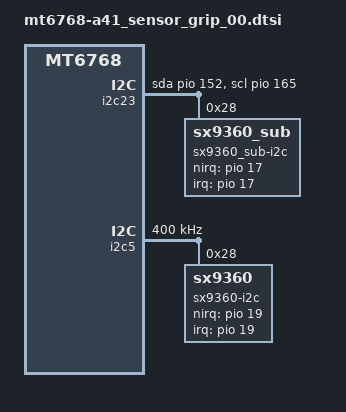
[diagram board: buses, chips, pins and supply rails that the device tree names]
/*
 * SAMSUNG board device tree source
 *
 * Copyright (c) 2019 Samsung Electronics Co., Ltd.
 *		http://www.samsung.com
 *
 * This program is free software; you can redistribute it and/or modify
 * it under the terms of the GNU General Public License version 2 as
 * published by the Free Software Foundation.
 */

/* MAIN GRIP */
&i2c5 {
	status = "okay";
	clock-frequency = <400000>;
	#address-cells = <1>;
	#size-cells = <0>;
	pinctrl-names = "default";
	pinctrl-0 = <&grip_ldo_en>;

	sx9360-i2c@28 {
		compatible = "sx9360";
		reg = <0x28>;
		status = "okay";
		pinctrl-names = "default";
		pinctrl-0 = <&grip_int>;
		interrupt-parent = <&pio>;
		interrupts = <19 0>;
		sx9360,nirq-gpio = <&pio 19 0>;

		#sx9360,vdd_en = <&pio 43 0>;
		sx9360,reggnrlctrl2_reg = <0x19>; /* scanperiod: 51ms */
		sx9360,refresolution_reg = <0x0F>; /* same as resolution_reg */
		sx9360,refagainfreq_reg = <0x36>; /* same as againfreq_reg */
		sx9360,resolution_reg = <0x0F>; /* resolution : 1024 */
		sx9360,againfreq_reg = <0x08>; /* freq : 65.50 kHz, again : +/-0.75 pF */
		sx9360,refgainrawfilt_reg = <0x22>; /* reference phase gain: x8, rawfilt : 1-1/4 */
		sx9360,gainrawfilt_reg = <0x12>; /* rawfilter : 1-1/4, gain : x2 */
		sx9360,regproxctrl3_reg = <0x0A>; /* avgposfilt: 1/256, avgnegfilt: 1/2 */
		sx9360,hyst_reg = <0x15>; /* hysteresis : +/-6 %, debouncer : 2 samples */
		sx9360,proxthresh_reg = <0x2D>; /* threshhold : 1012 */
		sx9360,hallic_detect = <0>;
		sx9360,hallic_cert_detect = <0>;
	};
};

/ {
	fragment@model {
		target-path = "/";
		__overlay__ {
			i2c23: i2c@23 { /* SUB GRIP */	
				cell-index = <23>;
				status = "okay";
				compatible = "i2c-gpio";
				gpios = <&pio 152 0 /* sda */
					&pio 165 0>; /* scl */
				i2c-gpio,delay-us = <2>;
				#address-cells = <1>;
				#size-cells = <0>;
				pinctrl-names = "default";
				pinctrl-0 = <&grip_sub_i2c>;

				sx9360_sub-i2c@28 {
					compatible = "sx9360_sub";
					reg = <0x28>;
					status = "okay";

					pinctrl-names = "default";
					pinctrl-0 = <&grip_sub_int>;
					interrupt-parent = <&pio>;
					interrupts = <17 0>;
					sx9360_sub,nirq-gpio = <&pio 17 0>;

					sx9360,refresolution_reg = <0x0F>; /* same as resolution_reg */
					sx9360,refagainfreq_reg = <0x36>; /* same as againfreq_reg */
					sx9360,resolution_reg = <0x0F>; /* resolution : 1024 */
					sx9360,againfreq_reg = <0x28>; /* freq : 62.5 kHz, again : +/-7.5 pF */
					sx9360,refgainrawfilt_reg = <0x22>; /* same as gainrawfilt_reg */
					sx9360,gainrawfilt_reg = <0x0A>; /* rawfilter : 1-1/4, gain : x4 */
					sx9360,regproxctrl3_reg = <0x0A>;
					sx9360,hyst_reg = <0x15>; /* hysteresis : +/-6 %, debouncer : 2 samples */
					sx9360,proxthresh_reg = <0x23>; /* threshhold : 612 */
					sx9360_sub,hallic_detect = <0>;
					sx9360_sub,hallic_cert_detect = <0>;
				};
			};
		};
	};
};

&pio {
	grip_ldo_en: grip-ldo-en {
		pins_cmd_dat {
			pinmux = <PINMUX_GPIO43__FUNC_GPIO43>;
			slew-rate = <1>;
			output-high;
		};
	};

	grip_int: grip-int {
		pins_cmd_dat {
			pinmux = <PINMUX_GPIO19__FUNC_GPIO19>;
			slew-rate = <0>;
			bias-disable;
		};
	};
	
	grip_sub_int: grip-sub-int {
		pins_cmd_dat {
			pinmux = <PINMUX_GPIO17__FUNC_GPIO17>;
			slew-rate = <0>;
			bias-disable;
		};
	};

	grip_sub_i2c: grip-sub-i2c {
		pins_cmd0_dat {
			pinmux = <PINMUX_GPIO152__FUNC_GPIO152>; /*grip sensor sda pin*/
			slew-rate = <0>;
			bias-disable;
		};
		pins_cmd1_dat {
			pinmux = <PINMUX_GPIO165__FUNC_GPIO165>; /*grip sensor scl pin*/
			slew-rate = <0>;
			bias-disable;
		};
	};
};
